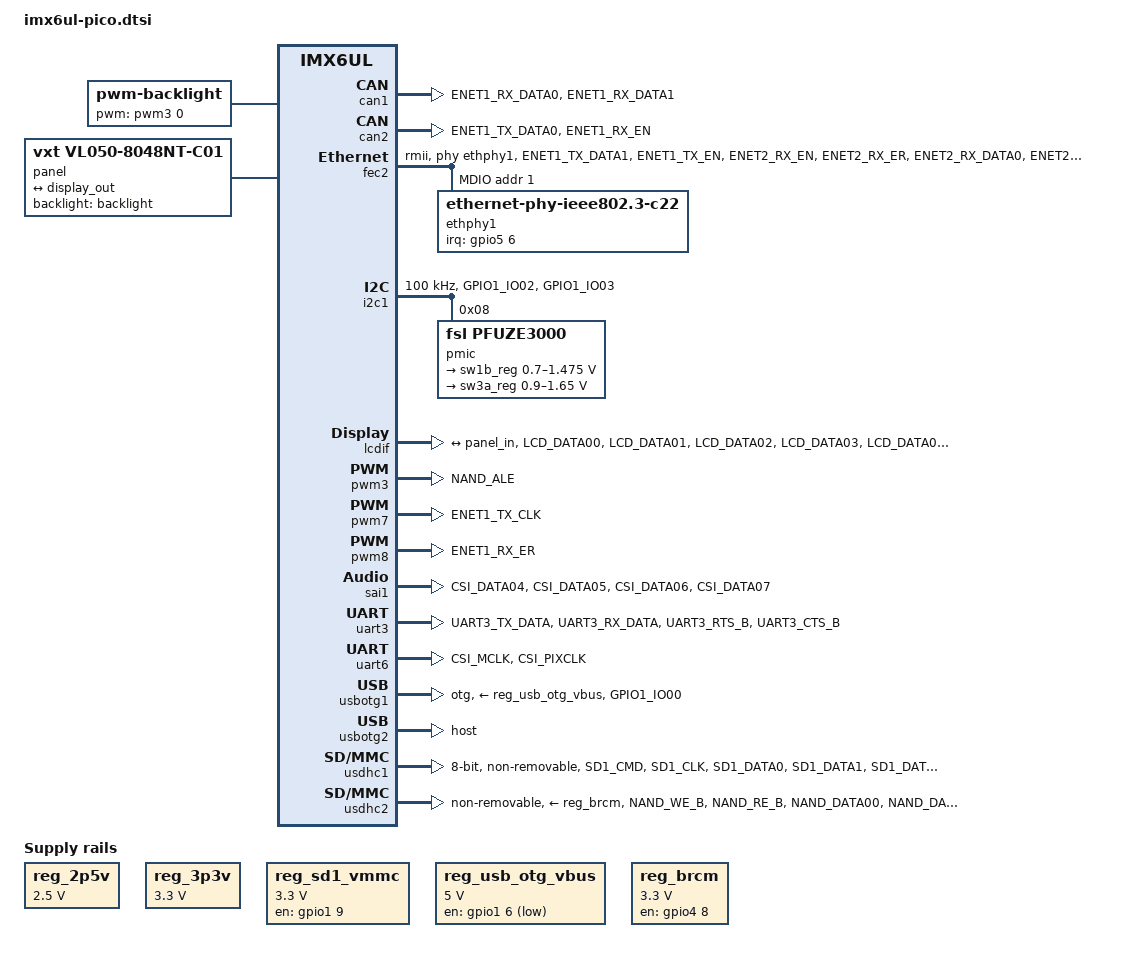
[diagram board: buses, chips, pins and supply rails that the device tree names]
// SPDX-License-Identifier: (GPL-2.0 OR MIT)
//
// Copyright 2015 Technexion Ltd.
//
// Author: Wig Cheng  <wig.cheng@technexion.com>
//	   Richard Hu <richard.hu@technexion.com>
//	   Tapani Utriainen <tapani@technexion.com>
/dts-v1/;

#include "imx6ul.dtsi"

/ {
	/* Will be filled by the bootloader */
	memory@80000000 {
		device_type = "memory";
		reg = <0x80000000 0>;
	};

	chosen {
		stdout-path = &uart6;
	};

	backlight: backlight {
		compatible = "pwm-backlight";
		pwms = <&pwm3 0 5000000>;
		brightness-levels = <0 4 8 16 32 64 128 255>;
		default-brightness-level = <6>;
		status = "okay";
	};

	reg_2p5v: regulator-2p5v {
		compatible = "regulator-fixed";
		regulator-name = "2P5V";
		regulator-min-microvolt = <2500000>;
		regulator-max-microvolt = <2500000>;
	};

	reg_3p3v: regulator-3p3v {
		compatible = "regulator-fixed";
		regulator-name = "3P3V";
		regulator-min-microvolt = <3300000>;
		regulator-max-microvolt = <3300000>;
	};

	reg_sd1_vmmc: regulator-sd1-vmmc {
		compatible = "regulator-fixed";
		regulator-name = "VSD_3V3";
		regulator-min-microvolt = <3300000>;
		regulator-max-microvolt = <3300000>;
		gpio = <&gpio1 9 GPIO_ACTIVE_HIGH>;
		enable-active-high;
	};

	reg_usb_otg_vbus: regulator-usb-otg-vbus {
		compatible = "regulator-fixed";
		pinctrl-names = "default";
		pinctrl-0 = <&pinctrl_usb_otg1>;
		regulator-name = "usb_otg_vbus";
		regulator-min-microvolt = <5000000>;
		regulator-max-microvolt = <5000000>;
		gpio = <&gpio1 6 0>;
	};

	reg_brcm: regulator-brcm {
		compatible = "regulator-fixed";
		enable-active-high;
		gpio = <&gpio4 8 GPIO_ACTIVE_HIGH>;
		pinctrl-names = "default";
		pinctrl-0 = <&pinctrl_brcm_reg>;
		regulator-name = "brcm_reg";
		regulator-min-microvolt = <3300000>;
		regulator-max-microvolt = <3300000>;
		startup-delay-us = <200000>;
	};

	panel {
		compatible = "vxt,vl050-8048nt-c01";
		backlight = <&backlight>;

		port {
			panel_in: endpoint {
				remote-endpoint = <&display_out>;
			};
		};
	};
};

&can1 {
	pinctrl-names = "default";
	pinctrl-0 = <&pinctrl_flexcan1>;
	status = "okay";
};

&can2 {
	pinctrl-names = "default";
	pinctrl-0 = <&pinctrl_flexcan2>;
	status = "okay";
};

&clks {
	assigned-clocks = <&clks IMX6UL_CLK_PLL4_AUDIO_DIV>;
	assigned-clock-rates = <786432000>;
};

&fec2 {
	pinctrl-names = "default";
	pinctrl-0 = <&pinctrl_enet2>;
	phy-mode = "rmii";
	phy-handle = <&ethphy1>;
	status = "okay";
	phy-reset-gpios = <&gpio1 28 GPIO_ACTIVE_LOW>;
	phy-reset-duration = <1>;

	mdio {
		#address-cells = <1>;
		#size-cells = <0>;

		ethphy1: ethernet-phy@1 {
			compatible = "ethernet-phy-ieee802.3-c22";
			reg = <1>;
			max-speed = <100>;
			interrupt-parent = <&gpio5>;
			interrupts = <6 IRQ_TYPE_LEVEL_LOW>;
			clocks = <&clks IMX6UL_CLK_ENET_REF>;
			clock-names = "rmii-ref";
		};
	};
};

&i2c1 {
	clock-frequency = <100000>;
	pinctrl-names = "default";
	pinctrl-0 = <&pinctrl_i2c1>;
	status = "okay";

	pmic: pmic@8 {
		compatible = "fsl,pfuze3000";
		reg = <0x08>;

		regulators {
			/* VDD_ARM_SOC_IN*/
			sw1b_reg: sw1b {
				regulator-min-microvolt = <700000>;
				regulator-max-microvolt = <1475000>;
				regulator-boot-on;
				regulator-always-on;
				regulator-ramp-delay = <6250>;
			};

			/* DRAM */
			sw3a_reg: sw3 {
				regulator-min-microvolt = <900000>;
				regulator-max-microvolt = <1650000>;
				regulator-boot-on;
				regulator-always-on;
			};

			/* DRAM */
			vref_reg: vrefddr {
				regulator-boot-on;
				regulator-always-on;
			};
		};
	};
};

&lcdif {
	pinctrl-names = "default";
	pinctrl-0 = <&pinctrl_lcdif_dat &pinctrl_lcdif_ctrl>;
	status = "okay";

	port {
		display_out: endpoint {
			remote-endpoint = <&panel_in>;
		};
	};
};

&pwm3 {
	#pwm-cells = <2>;
	pinctrl-names = "default";
	pinctrl-0 = <&pinctrl_pwm3>;
	status = "okay";
};

&pwm7 {
	pinctrl-names = "default";
	pinctrl-0 = <&pinctrl_pwm7>;
	status = "okay";
};

&pwm8 {
	pinctrl-names = "default";
	pinctrl-0 = <&pinctrl_pwm8>;
	status = "okay";
};

&sai1 {
	pinctrl-names = "default";
	pinctrl-0 = <&pinctrl_sai1>;
	status = "okay";
};

&uart3 {
	pinctrl-names = "default";
	pinctrl-0 = <&pinctrl_uart3>;
	uart-has-rtscts;
	status = "okay";
};

&uart6 {
	pinctrl-names = "default";
	pinctrl-0 = <&pinctrl_uart6>;
	status = "okay";
};

&usbotg1 {
	vbus-supply = <&reg_usb_otg_vbus>;
	pinctrl-names = "default";
	pinctrl-0 = <&pinctrl_usb_otg1_id>;
	dr_mode = "otg";
	disable-over-current;
	status = "okay";
};

&usbotg2 {
	dr_mode = "host";
	disable-over-current;
	status = "okay";
};

&usdhc1 {
	pinctrl-names = "default";
	pinctrl-0 = <&pinctrl_usdhc1>;
	bus-width = <8>;
	no-1-8-v;
	non-removable;
	keep-power-in-suspend;
	status = "okay";
};

&usdhc2 {  /* Wifi SDIO */
	pinctrl-names = "default";
	pinctrl-0 = <&pinctrl_usdhc2>;
	no-1-8-v;
	non-removable;
	keep-power-in-suspend;
	wakeup-source;
	vmmc-supply = <&reg_brcm>;
	status = "okay";
};

&wdog1 {
	pinctrl-names = "default";
	pinctrl-0 = <&pinctrl_wdog>;
	fsl,ext-reset-output;
};

&iomuxc {
	pinctrl_brcm_reg: brcmreggrp {
		fsl,pins = <
			MX6UL_PAD_NAND_DATA06__GPIO4_IO08	0x10b0	/* WL_REG_ON */
			MX6UL_PAD_NAND_DATA04__GPIO4_IO06	0x10b0	/* WL_HOST_WAKE */
		>;
	};

	pinctrl_enet2: enet2grp {
		fsl,pins = <
			MX6UL_PAD_ENET1_TX_DATA1__ENET2_MDIO	0x1b0b0
			MX6UL_PAD_ENET1_TX_EN__ENET2_MDC	0x1b0b0
			MX6UL_PAD_ENET2_RX_EN__ENET2_RX_EN	0x1b0b0
			MX6UL_PAD_ENET2_RX_ER__ENET2_RX_ER	0x1b0b0
			MX6UL_PAD_ENET2_RX_DATA0__ENET2_RDATA00	0x1b0b0
			MX6UL_PAD_ENET2_RX_DATA1__ENET2_RDATA01	0x1b0b0
			MX6UL_PAD_ENET2_TX_EN__ENET2_TX_EN	0x1b0b0
			MX6UL_PAD_ENET2_TX_DATA0__ENET2_TDATA00	0x1b0b0
			MX6UL_PAD_ENET2_TX_DATA1__ENET2_TDATA01	0x1b0b0
			MX6UL_PAD_ENET2_TX_CLK__ENET2_REF_CLK2	0x4001b031
			MX6UL_PAD_SNVS_TAMPER6__GPIO5_IO06	0x800
			MX6UL_PAD_UART4_TX_DATA__GPIO1_IO28	0x79
		>;
	};

	pinctrl_flexcan1: flexcan1grp {
		fsl,pins = <
			MX6UL_PAD_ENET1_RX_DATA0__FLEXCAN1_TX	0x1b020
			MX6UL_PAD_ENET1_RX_DATA1__FLEXCAN1_RX	0x1b020
		>;
	};

	pinctrl_flexcan2: flexcan2grp {
		fsl,pins = <
			MX6UL_PAD_ENET1_TX_DATA0__FLEXCAN2_RX	0x1b020
			MX6UL_PAD_ENET1_RX_EN__FLEXCAN2_TX	0x1b020
		>;
	};

	pinctrl_i2c1: i2c1grp {
		fsl,pins = <
			MX6UL_PAD_GPIO1_IO02__I2C1_SCL		0x4001b8b0
			MX6UL_PAD_GPIO1_IO03__I2C1_SDA		0x4001b8b0
		>;
	};

	pinctrl_i2c2: i2c2grp {
		fsl,pins = <
			MX6UL_PAD_UART5_TX_DATA__I2C2_SCL	0x4001b8b0
			MX6UL_PAD_UART5_RX_DATA__I2C2_SDA	0x4001b8b0
		>;
	};

	pinctrl_i2c3: i2c3grp {
		fsl,pins = <
			MX6UL_PAD_UART1_TX_DATA__I2C3_SCL	0x4001b8b0
			MX6UL_PAD_UART1_RX_DATA__I2C3_SDA	0x4001b8b0
			>;
	};

	pinctrl_lcdif_dat: lcdifdatgrp {
		fsl,pins = <
			MX6UL_PAD_LCD_DATA00__LCDIF_DATA00	0x79
			MX6UL_PAD_LCD_DATA01__LCDIF_DATA01	0x79
			MX6UL_PAD_LCD_DATA02__LCDIF_DATA02	0x79
			MX6UL_PAD_LCD_DATA03__LCDIF_DATA03	0x79
			MX6UL_PAD_LCD_DATA04__LCDIF_DATA04	0x79
			MX6UL_PAD_LCD_DATA05__LCDIF_DATA05	0x79
			MX6UL_PAD_LCD_DATA06__LCDIF_DATA06	0x79
			MX6UL_PAD_LCD_DATA07__LCDIF_DATA07	0x79
			MX6UL_PAD_LCD_DATA08__LCDIF_DATA08	0x79
			MX6UL_PAD_LCD_DATA09__LCDIF_DATA09	0x79
			MX6UL_PAD_LCD_DATA10__LCDIF_DATA10	0x79
			MX6UL_PAD_LCD_DATA11__LCDIF_DATA11	0x79
			MX6UL_PAD_LCD_DATA12__LCDIF_DATA12	0x79
			MX6UL_PAD_LCD_DATA13__LCDIF_DATA13	0x79
			MX6UL_PAD_LCD_DATA14__LCDIF_DATA14	0x79
			MX6UL_PAD_LCD_DATA15__LCDIF_DATA15	0x79
			MX6UL_PAD_LCD_DATA16__LCDIF_DATA16	0x79
			MX6UL_PAD_LCD_DATA17__LCDIF_DATA17	0x79
			MX6UL_PAD_LCD_DATA18__LCDIF_DATA18	0x79
			MX6UL_PAD_LCD_DATA19__LCDIF_DATA19	0x79
			MX6UL_PAD_LCD_DATA20__LCDIF_DATA20	0x79
			MX6UL_PAD_LCD_DATA21__LCDIF_DATA21	0x79
			MX6UL_PAD_LCD_DATA22__LCDIF_DATA22	0x79
			MX6UL_PAD_LCD_DATA23__LCDIF_DATA23	0x79
		>;
	};

	pinctrl_lcdif_ctrl: lcdifctrlgrp {
		fsl,pins = <
			MX6UL_PAD_LCD_CLK__LCDIF_CLK		0x79
			MX6UL_PAD_LCD_ENABLE__LCDIF_ENABLE	0x79
			MX6UL_PAD_LCD_HSYNC__LCDIF_HSYNC	0x79
			MX6UL_PAD_LCD_VSYNC__LCDIF_VSYNC	0x79
			/* LCD reset */
			MX6UL_PAD_SNVS_TAMPER9__GPIO5_IO09	0x79
		>;
	};

	pinctrl_pwm3: pwm3grp {
		fsl,pins = <
			MX6UL_PAD_NAND_ALE__PWM3_OUT		0x110b0
		>;
	};

	pinctrl_pwm7: pwm7grp {
		fsl,pins = <
			MX6UL_PAD_ENET1_TX_CLK__PWM7_OUT	0x110b0
		>;
	};

	pinctrl_pwm8: pwm8grp {
		fsl,pins = <
			MX6UL_PAD_ENET1_RX_ER__PWM8_OUT		0x110b0
		>;
	};

	pinctrl_sai1: sai1grp {
		fsl,pins = <
			MX6UL_PAD_CSI_DATA04__SAI1_TX_SYNC	0x1b0b0
			MX6UL_PAD_CSI_DATA05__SAI1_TX_BCLK	0x1b0b0
			MX6UL_PAD_CSI_DATA06__SAI1_RX_DATA	0x110b0
			MX6UL_PAD_CSI_DATA07__SAI1_TX_DATA	0x1f0b8
		>;
	};

	pinctrl_uart3: uart3grp {
		fsl,pins = <
			MX6UL_PAD_UART3_TX_DATA__UART3_DCE_TX	0x1b0b0
			MX6UL_PAD_UART3_RX_DATA__UART3_DCE_RX	0x1b0b0
			MX6UL_PAD_UART3_RTS_B__UART3_DCE_RTS	0x1b0b0
			MX6UL_PAD_UART3_CTS_B__UART3_DCE_CTS	0x1b0b0
		>;
	};

	pinctrl_uart5: uart5grp {
		fsl,pins = <
			MX6UL_PAD_GPIO1_IO04__UART5_DCE_TX	0x1b0b1
			MX6UL_PAD_GPIO1_IO05__UART5_DCE_RX	0x1b0b1
			MX6UL_PAD_GPIO1_IO08__UART5_DCE_RTS	0x1b0b1
			MX6UL_PAD_GPIO1_IO09__UART5_DCE_CTS	0x1b0b1
		>;
	};

	pinctrl_uart6: uart6grp {
		fsl,pins = <
			MX6UL_PAD_CSI_MCLK__UART6_DCE_TX	0x1b0b1
			MX6UL_PAD_CSI_PIXCLK__UART6_DCE_RX	0x1b0b1
		>;
	};

	pinctrl_usb_otg1: usbotg1grp {
		fsl,pins = <
			MX6UL_PAD_GPIO1_IO06__GPIO1_IO06	0x10b0
			>;
	};

	pinctrl_usb_otg1_id: usbotg1idgrp {
		fsl,pins = <
			MX6UL_PAD_GPIO1_IO00__ANATOP_OTG1_ID	0x17059
		>;
	};

	pinctrl_usdhc1: usdhc1grp {
		fsl,pins = <
			MX6UL_PAD_SD1_CMD__USDHC1_CMD		0x17059
			MX6UL_PAD_SD1_CLK__USDHC1_CLK		0x10071
			MX6UL_PAD_SD1_DATA0__USDHC1_DATA0	0x17059
			MX6UL_PAD_SD1_DATA1__USDHC1_DATA1	0x17059
			MX6UL_PAD_SD1_DATA2__USDHC1_DATA2	0x17059
			MX6UL_PAD_SD1_DATA3__USDHC1_DATA3	0x17059
			MX6UL_PAD_UART1_RTS_B__USDHC1_CD_B	0x03029
			MX6UL_PAD_NAND_READY_B__USDHC1_DATA4	0x17059
			MX6UL_PAD_NAND_CE0_B__USDHC1_DATA5	0x17059
			MX6UL_PAD_NAND_CE1_B__USDHC1_DATA6	0x17059
			MX6UL_PAD_NAND_CLE__USDHC1_DATA7	0x17059
		>;
	};

	pinctrl_usdhc2: usdhc2grp {
		fsl,pins = <
			MX6UL_PAD_NAND_WE_B__USDHC2_CMD		0x17059
			MX6UL_PAD_NAND_RE_B__USDHC2_CLK		0x10059
			MX6UL_PAD_NAND_DATA00__USDHC2_DATA0	0x17059
			MX6UL_PAD_NAND_DATA01__USDHC2_DATA1	0x17059
			MX6UL_PAD_NAND_DATA02__USDHC2_DATA2	0x17059
			MX6UL_PAD_NAND_DATA03__USDHC2_DATA3	0x17059
		>;
	};

	pinctrl_wdog: wdoggrp {
		fsl,pins = <
			MX6UL_PAD_LCD_RESET__WDOG1_WDOG_ANY    0x30b0
		>;
	};
};
